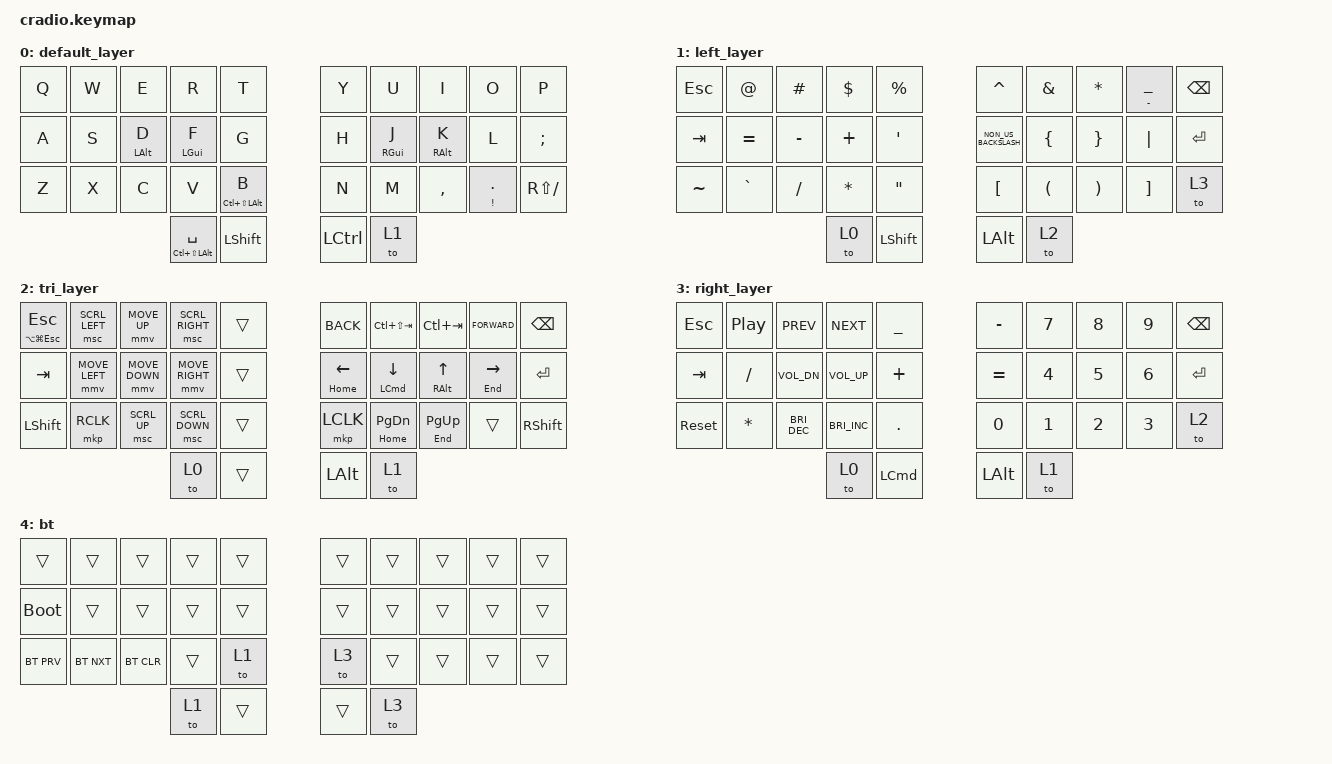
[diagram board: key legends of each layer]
/*
 * Copyright (c) 2020 The ZMK Contributors
 *
 * SPDX-License-Identifier: MIT
 */

#include <dt-bindings/zmk/mouse.h>
#include <behaviors.dtsi>
#include <dt-bindings/zmk/bt.h>
#include <dt-bindings/zmk/keys.h>
#include <dt-bindings/zmk/pointing.h>

&mt {
    flavor = "tap-preferred";
    tapping_term_ms = <200>;
};

/ {
    combos {
        compatible = "zmk,combos";

        combo_esc {
            timeout-ms = <50>;
            key-positions = <21 22>;
            bindings = <&kp ESC>;
        };

        combo_3 {
            timeout-ms = <50>;
            key-positions = <7 8>;
            bindings = <&to 2>;
        };

        combo_ent {
            timeout-ms = <50>;
            key-positions = <27 28>;
            bindings = <&kp RET>;
        };

        combo_1 {
            timeout-ms = <50>;
            key-positions = <30 33>;
            bindings = <&to 3>;
        };

        combo_1_high {
            timeout-ms = <50>;
            key-positions = <24 25>;
            bindings = <&to 3>;
        };

        combo_g {
            timeout-ms = <15>;
            key-positions = <12 13>;
            bindings = <&kp G>;
            layers = <1>;
        };

        combo_j {
            timeout-ms = <50>;
            key-positions = <22 23>;
            bindings = <&kp J>;
            layers = <1>;
        };

        combo_p {
            timeout-ms = <15>;
            key-positions = <16 17>;
            bindings = <&kp P>;
            layers = <1>;
        };

        combo_b {
            timeout-ms = <50>;
            key-positions = <26 27>;
            bindings = <&kp B>;
            layers = <1>;
        };

        combo_scol {
            timeout-ms = <50>;
            key-positions = <8 9>;
            bindings = <&kp SEMI>;
            layers = <1>;
        };

        combo_com {
            timeout-ms = <50>;
            key-positions = <20 21>;
            bindings = <&kp COMMA>;
            layers = <1>;
        };

        combo_minus {
            timeout-ms = <50>;
            key-positions = <0 1>;
            bindings = <&kp MINUS>;
            layers = <1>;
        };

        combo_slsh {
            timeout-ms = <50>;
            key-positions = <28 29>;
            bindings = <&kp SLASH>;
            layers = <1>;
        };

        combo_sqt {
            timeout-ms = <50>;
            key-positions = <12 13>;
            bindings = <&kp SQT>;
            layers = <3>;
        };

        combo_dqt {
            timeout-ms = <50>;
            key-positions = <22 23>;
            bindings = <&kp DQT>;
            layers = <3>;
        };

        combo_bslh {
            timeout-ms = <50>;
            key-positions = <16 17>;
            bindings = <&kp BSLH>;
            layers = <3>;
        };

        combo_lbkt {
            timeout-ms = <50>;
            key-positions = <26 27>;
            bindings = <&kp LBKT>;
            layers = <3>;
        };

        combo_n0 {
            timeout-ms = <50>;
            key-positions = <26 27>;
            bindings = <&kp N0>;
            layers = <3>;
        };

        combo_lalt {
            timeout-ms = <50>;
            key-positions = <12 13>;
            bindings = <&kp LALT>;
            layers = <2>;
        };

        combo_del {
            timeout-ms = <50>;
            key-positions = <22 23>;
            bindings = <&kp DEL>;
            layers = <2>;
        };

        combo_left {
            timeout-ms = <50>;
            key-positions = <16 17>;
            bindings = <&kp LEFT>;
            layers = <2>;
        };

        combo_lclk {
            timeout-ms = <50>;
            key-positions = <26 27>;
            bindings = <&mkp LCLK>;
            layers = <2>;
        };
    };

    behaviors {
        hm: homerow_mods {
            compatible = "zmk,behavior-hold-tap";
            label = "HOMEROW_MODS";
            #binding-cells = <2>;
            tapping-term-ms = <200>;
            quick_tap_ms = <0>;
            flavor = "tap-preferred";
            bindings = <&kp>, <&kp>;
        };

        hs: homerow_shifts {
            compatible = "zmk,behavior-hold-tap";
            label = "HOMEROW_SHIFTS";
            #binding-cells = <2>;
            tapping-term-ms = <150>;
            quick_tap_ms = <0>;
            flavor = "balanced";
            bindings = <&kp>, <&kp>;
        };

        hsl: homerow_shifts_layer {
            compatible = "zmk,behavior-hold-tap";
            label = "HOMEROW_SHIFTS_LAYER";
            #binding-cells = <2>;
            tapping-term-ms = <150>;
            quick_tap_ms = <0>;
            flavor = "balanced";
            bindings = <&kp>, <&to>;
        };

        td: tapdance {
            compatible = "zmk,behavior-hold-tap";
            label = "TAPDANCE";
            #binding-cells = <2>;
            tapping-term-ms = <150>;
            quick_tap_ms = <0>;
            flavor = "tap-preferred";
            bindings = <&kp>, <&kp>;
        };

        bl: layertap {
            compatible = "zmk,behavior-hold-tap";
            label = "LAYERTAP";
            #binding-cells = <2>;
            tapping-term-ms = <150>;
            quick_tap_ms = <0>;
            flavor = "tap-preferred";
            bindings = <&to>, <&kp>;
        };
    };

    keymap {
        compatible = "zmk,keymap";

        default_layer {
            bindings = <
&kp Q  &kp W  &kp E       &kp R                   &kp T                 &kp Y      &kp U       &kp I       &kp O         &kp P
&kp A  &kp S  &hm LALT D  &hm LGUI F              &kp G                 &kp H      &hm RGUI J  &hm RALT K  &kp L         &kp SEMICOLON
&kp Z  &kp X  &kp C       &kp V                   &mt LC(LS(LALT)) B    &kp N      &kp M       &kp COMMA   &td EXCL DOT  &kp RS(SLASH)
                          &mt LC(LS(LALT)) SPACE  &kp LSHFT             &kp LCTRL  &to 1
            >;
        };

        left_layer {
            bindings = <
&kp ESC    &kp AT_SIGN  &kp HASH   &kp DLLR      &kp PERCENT          &kp CARET             &kp AMPERSAND         &kp ASTERISK           &td MINUS UNDERSCORE  &kp BACKSPACE
&kp TAB    &kp EQUAL    &kp MINUS  &kp PLUS      &kp SQT              &kp NON_US_BACKSLASH  &kp LEFT_BRACE        &kp RIGHT_BRACE        &kp PIPE              &kp ENTER
&kp TILDE  &kp GRAVE    &kp SLASH  &kp ASTERISK  &kp DOUBLE_QUOTES    &kp LEFT_BRACKET      &kp LEFT_PARENTHESIS  &kp RIGHT_PARENTHESIS  &kp RBKT              &to 3
                                   &to 0         &kp LEFT_SHIFT       &kp LEFT_ALT          &to 2
            >;
        };

        tri_layer {
            bindings = <
&td LA(LG(ESCAPE)) ESC  &msc SCRL_LEFT  &mmv MOVE_UP    &msc SCRL_RIGHT  &trans    &kp K_BACK     &kp LC(LS(TAB))        &kp LC(TAB)    &kp K_FORWARD  &kp BACKSPACE
&kp TAB                 &mmv MOVE_LEFT  &mmv MOVE_DOWN  &mmv MOVE_RIGHT  &trans    &td HOME LEFT  &hm LEFT_COMMAND DOWN  &hm RALT UP    &td END RIGHT  &kp ENTER
&kp LSHIFT              &mkp RCLK       &msc SCRL_UP    &msc SCRL_DOWN   &trans    &mkp LCLK      &td HOME PG_DN         &td END PG_UP  &trans         &kp RSHIFT
                                                        &to 0            &trans    &kp LEFT_ALT   &to 1
            >;
        };

        right_layer {
            bindings = <
&kp ESCAPE  &kp C_PP      &kp C_PREV            &kp C_NEXT            &kp UNDERSCORE      &kp MINUS     &kp N7        &kp N8  &kp N9        &kp BACKSPACE
&kp TAB     &kp SLASH     &kp C_VOL_DN          &kp C_VOL_UP          &kp PLUS            &kp EQUAL     &kp NUMBER_4  &kp N5  &kp N6        &kp ENTER
&sys_reset  &kp ASTERISK  &kp C_BRIGHTNESS_DEC  &kp C_BRIGHTNESS_INC  &kp DOT             &kp NUMBER_0  &kp N1        &kp N2  &kp NUMBER_3  &to 2
                                                &to 0                 &kp LEFT_COMMAND    &kp LEFT_ALT  &to 1
            >;
        };

        bt {
            bindings = <
&trans       &trans      &trans      &trans  &trans    &trans  &trans  &trans  &trans  &trans
&bootloader  &trans      &trans      &trans  &trans    &trans  &trans  &trans  &trans  &trans
&bt BT_PRV   &bt BT_NXT  &bt BT_CLR  &trans  &to 1     &to 3   &trans  &trans  &trans  &trans
                                     &to 1   &trans    &trans  &to 3
            >;
        };
    };
};
